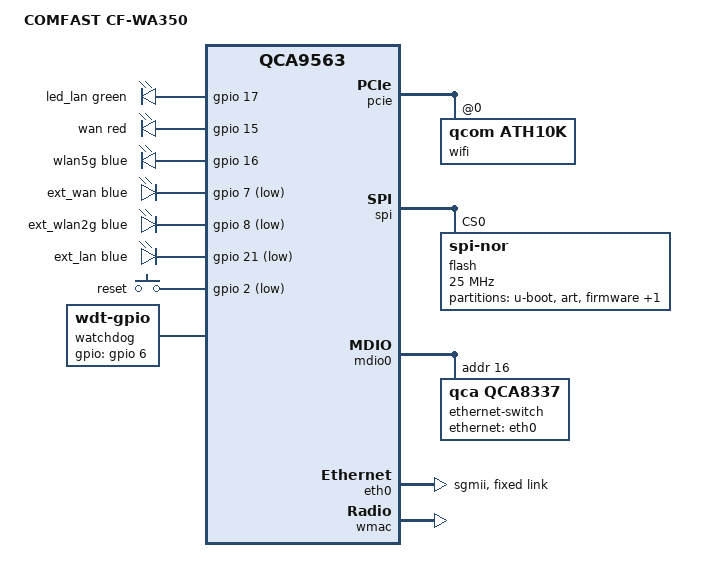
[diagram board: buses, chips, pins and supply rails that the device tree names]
// SPDX-License-Identifier: GPL-2.0-or-later OR MIT

#include "qca956x.dtsi"

#include <dt-bindings/gpio/gpio.h>
#include <dt-bindings/input/input.h>
#include <dt-bindings/leds/common.h>

/ {
	model = "COMFAST CF-WA350";
	compatible = "comfast,cf-wa350", "qca,qca9563";

	aliases {
		label-mac-device = &eth0;
		led-boot = &led_lan;
		led-failsafe = &led_lan;
		led-running = &led_lan;
		led-upgrade = &led_lan;
	};

	leds {
		compatible = "gpio-leds";

		led_lan: lan {
			color = <LED_COLOR_ID_GREEN>;
			function = LED_FUNCTION_LAN;
			gpios = <&gpio 17 GPIO_ACTIVE_HIGH>;
		};

		wan {
			color = <LED_COLOR_ID_RED>;
			function = LED_FUNCTION_WAN;
			gpios = <&gpio 15 GPIO_ACTIVE_HIGH>;
		};

		wlan5g {
			color = <LED_COLOR_ID_BLUE>;
			function = LED_FUNCTION_WLAN_5GHZ;
			gpios = <&gpio 16 GPIO_ACTIVE_HIGH>;
		};

		ext_wan {
			color = <LED_COLOR_ID_BLUE>;
			function = "ext-wan";
			gpios = <&gpio 7 GPIO_ACTIVE_LOW>;
		};

		ext_wlan2g {
			color = <LED_COLOR_ID_BLUE>;
			function = "ext-wlan2g";
			gpios = <&gpio 8 GPIO_ACTIVE_LOW>;
		};

		ext_lan {
			color = <LED_COLOR_ID_BLUE>;
			function = "ext-lan";
			gpios = <&gpio 21 GPIO_ACTIVE_LOW>;
		};
	};

	keys {
		compatible = "gpio-keys";

		reset {
			linux,code = <KEY_RESTART>;
			gpios = <&gpio 2 GPIO_ACTIVE_LOW>;
			debounce-interval = <60>;
		};
	};

	watchdog {
		compatible = "linux,wdt-gpio";
		gpios = <&gpio 6 GPIO_ACTIVE_HIGH>;
		hw_algo = "toggle";
		hw_margin_ms = <500>;
		always-running;
	};
};

&pcie {
	status = "okay";

	wifi@0,0 {
		compatible = "qcom,ath10k";
		reg = <0x0000 0 0 0 0>;
		nvmem-cells = <&precal_art_5000>, <&macaddr_art_0 2>;
		nvmem-cell-names = "pre-calibration", "mac-address";
	};
};

&spi {
	status = "okay";

	flash@0 {
		compatible = "jedec,spi-nor";
		reg = <0>;
		spi-max-frequency = <25000000>;

		partitions {
			compatible = "fixed-partitions";
			#address-cells = <1>;
			#size-cells = <1>;

			partition@0 {
				label = "u-boot";
				reg = <0x000000 0x040000>;
				read-only;
			};

			partition@40000 {
				label = "art";
				reg = <0x040000 0x010000>;
				read-only;

				nvmem-layout {
					compatible = "fixed-layout";
					#address-cells = <1>;
					#size-cells = <1>;

					macaddr_art_0: macaddr@0 {
						compatible = "mac-base";
						reg = <0x0 0x6>;
						#nvmem-cell-cells = <1>;
					};

					cal_art_1000: calibration@1000 {
						reg = <0x1000 0x440>;
					};

					precal_art_5000: pre-calibration@5000 {
						reg = <0x5000 0x2f20>;
					};
				};
			};

			partition@50000 {
				compatible = "denx,uimage";
				label = "firmware";
				reg = <0x050000 0xfa0000>;
			};

			partition@ff0000 {
				label = "art-backup";
				reg = <0xff0000 0x010000>;
				read-only;
			};
		};
	};
};

/*
 * QCA8337 (AR8337 rev. 2): qca8k reaches the switch registers through the
 * hardcoded MDIO window 0x10-0x18, while the five port PHYs answer at 0-4.
 * Anchor the switch node at 0x10 so it does not collide with PHY 0.
 *
 * No PHY is declared on the external ag71xx bus and no "mdio" child is
 * declared here, so qca8k uses its legacy port-to-PHY mapping (port N ->
 * internal PHY N - 1) and registers "qca8k-legacy user mii" as
 * ds->user_mii_bus. All PHY traffic then goes through the switch MDIO
 * master, which also disconnects the external MDC/MDIO passthrough.
 *
 * This is what keeps CONFIG_AR8216_PHY - built into every ath79 kernel on
 * the generic subtarget - away from the switch: the legacy bus enumerates
 * the PHYs at the *port* addresses (1 and 2), and ar8xxx_phy_probe() only
 * ever looks at MDIO addresses 0, 3 and 4, so it returns -ENODEV without
 * reading a single register. With PHY nodes on the external bus instead,
 * that driver identifies the chip through its 0x10/0x18 window, registers a
 * bogus swconfig switch and only then fails on the missing
 * qca,ar8327-initvals.
 */
&mdio0 {
	status = "okay";

	ethernet-switch@10 {
		compatible = "qca,qca8337";
		reg = <0x10>;

		ethernet-ports {
			#address-cells = <1>;
			#size-cells = <0>;

			ethernet-port@0 {
				reg = <0>;
				ethernet = <&eth0>;
				phy-mode = "sgmii";

				/*
				 * Stock firmware programs PORT0_PAD_MODE_CTRL (0x04)
				 * with 0x00080080: BIT(7) enables SGMII (handled via
				 * phy-mode) and BIT(19) selects the SGMII RX clock
				 * falling edge, which this board requires.
				 * PORT0_STATUS (0x7c) = 0x7e is covered by fixed-link.
				 * qca,sgmii-enable-pll is deliberately omitted: the
				 * binding advises it for a QCA8337 SGMII CPU port, but
				 * this board's CPU link is stable at 1G without it.
				 */
				qca,sgmii-rxclk-falling-edge;

				fixed-link {
					speed = <1000>;
					full-duplex;
				};
			};

			ethernet-port@1 {
				reg = <1>;
				label = "wan";
				phy-mode = "internal";
			};

			ethernet-port@2 {
				reg = <2>;
				label = "lan";
				phy-mode = "internal";
			};
		};
	};
};

&wdt {
	status = "disabled";
};

&eth0 {
	status = "okay";

	pll-data = <0x03000101 0x00000101 0x00001919>;

	phy-mode = "sgmii";
	nvmem-cells = <&macaddr_art_0 0>;
	nvmem-cell-names = "mac-address";

	fixed-link {
		speed = <1000>;
		full-duplex;
	};
};

&wmac {
	status = "okay";

	nvmem-cells = <&macaddr_art_0 10>, <&cal_art_1000>;
	nvmem-cell-names = "mac-address", "calibration";
};
